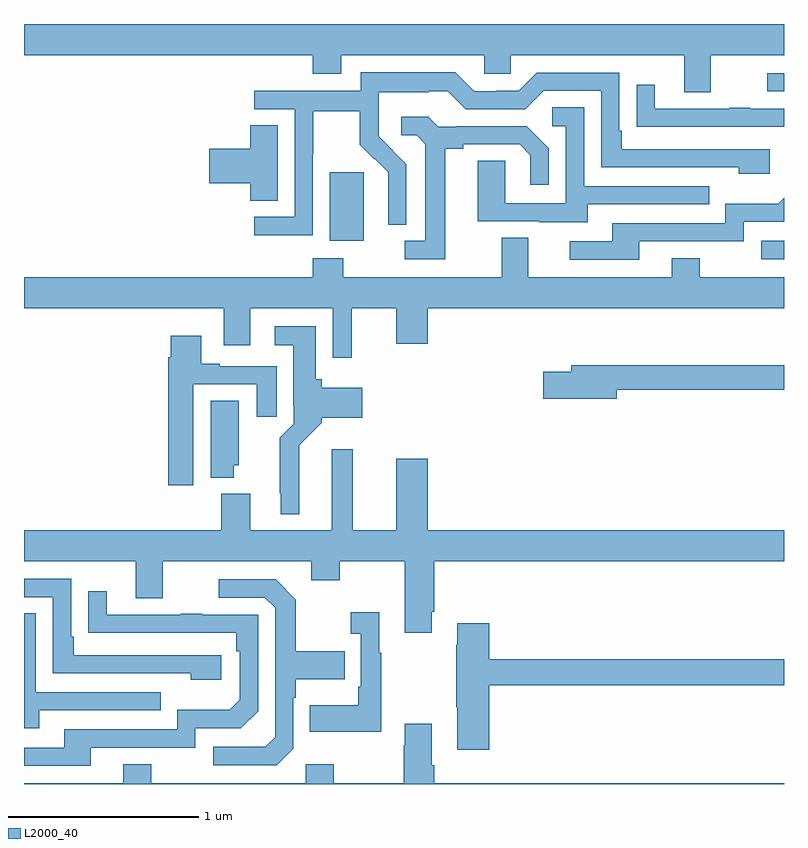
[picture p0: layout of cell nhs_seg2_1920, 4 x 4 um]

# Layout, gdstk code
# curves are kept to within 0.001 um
import gdstk
lib = gdstk.Library(unit=1e-6, precision=1e-09)
def R(c, l, rs):  # rectangles x0, y0, x1, y1
    for r in rs: c.add(gdstk.rectangle(r[:2], r[2:], *l))
def P(c, l, *ps):  # polygons
    for p in ps: c.add(gdstk.Polygon(p, *l))
L2000_40 = (2000, 40)

nhs_seg2_1920 = lib.new_cell('nhs_seg2_1920')
R(nhs_seg2_1920, L2000_40, [(214.881,646.563,215,646.659), (212.609,646.658,212.788,647.019), (214.911,647.445,215,647.541)])
P(nhs_seg2_1920, L2000_40, [(214.615,647.636),(215,647.636),(215,647.8),(211,647.8),(211,647.636),(212.519,647.636),(212.519,647.537),(212.671,647.537),(212.671,647.636),(213.423,647.636),(213.423,647.538),(213.561,647.538),(213.561,647.636),(214.475,647.636),(214.475,647.442),(214.615,647.442)],
  [(212.52,647.116),(212.523,647.116),(212.523,647.34),(212.767,647.34),(212.767,647.165),(212.844,647.088),(212.847,647.091),(212.918,647.021),(212.918,646.898),(212.916,646.898),(212.916,646.744),(213.012,646.744),(213.012,647.062),(212.866,647.21),(212.866,647.307),(212.868,647.307),(212.868,647.441),(213.131,647.441),(213.131,647.445),(213.231,647.445),(213.324,647.352),(213.639,647.352),(213.735,647.448),(214.038,647.448),(214.038,647.046),(214.763,647.046),(214.763,647.012),(214.924,647.012),(214.924,647.142),(214.147,647.142),(214.147,647.239),(214.134,647.239),(214.134,647.544),(213.699,647.544),(213.603,647.448),(213.485,647.448),(213.485,647.445),(213.369,647.445),(213.269,647.545),(212.772,647.545),(212.772,647.448),(212.211,647.448),(212.211,647.352),(212.424,647.352),(212.424,646.785),(212.211,646.785),(212.211,646.687),(212.52,646.687)],
  [(215,647.355),(214.823,647.355),(214.823,647.36),(214.711,647.36),(214.711,647.355),(214.321,647.355),(214.321,647.479),(214.225,647.479),(214.225,647.26),(214.327,647.26),(214.327,647.259),(215,647.259)],
  [(213.967,646.851),(214.607,646.851),(214.607,646.947),(213.948,646.947),(213.948,647.363),(213.78,647.363),(213.78,647.262),(213.852,647.262),(213.852,646.857),(213.534,646.857),(213.534,647.081),(213.389,647.081),(213.389,646.761),(213.713,646.761),(213.713,646.757),(213.967,646.757)],
  [(213.217,647.144),(213.313,647.144),(213.313,647.166),(213.608,647.166),(213.665,647.109),(213.665,646.953),(213.762,646.953),(213.762,647.146),(213.646,647.262),(213.274,647.262),(213.274,647.259),(213.18,647.259),(213.128,647.311),(212.985,647.311),(212.985,647.214),(213.066,647.214),(213.113,647.167),(213.113,646.659),(213.003,646.659),(213.003,646.563),(213.217,646.563)],
  [(212.335,647.267),(212.192,647.267),(212.192,647.144),(211.974,647.144),(211.974,646.961),(212.192,646.961),(212.192,646.87),(212.335,646.87)],
  [(214.237,646.656),(214.788,646.656),(214.788,646.758),(215,646.758),(215,646.886),(214.969,646.855),(214.692,646.855),(214.692,646.752),(214.097,646.752),(214.097,646.656),(213.873,646.656),(213.873,646.56),(214.237,646.56)],
  [(212.724,646.304),(212.96,646.304),(212.96,646.116),(213.124,646.116),(213.124,646.304),(215,646.304),(215,646.468),(214.557,646.468),(214.557,646.567),(214.409,646.567),(214.409,646.468),(213.655,646.468),(213.655,646.676),(213.515,646.676),(213.515,646.468),(212.679,646.468),(212.679,646.567),(212.519,646.567),(212.519,646.468),(211,646.468),(211,646.304),(212.051,646.304),(212.051,646.11),(212.191,646.11),(212.191,646.304),(212.625,646.304),(212.625,646.044),(212.724,646.044)],
  [(212.449,645.584),(212.567,645.702),(212.567,645.728),(212.779,645.728),(212.779,645.886),(212.567,645.886),(212.567,645.93),(212.536,645.93),(212.536,646.21),(212.319,646.21),(212.319,646.109),(212.417,646.109),(212.417,645.79),(212.421,645.79),(212.421,645.696),(212.347,645.622),(212.347,645.331),(212.351,645.331),(212.351,645.221),(212.449,645.221)],
  [(211.891,645.903),(212.225,645.903),(212.225,645.732),(212.329,645.732),(212.329,645.999),(212.029,645.999),(212.029,646.012),(211.933,646.012),(211.933,646.159),(211.772,646.159),(211.772,646.046),(211.76,646.046),(211.76,645.372),(211.891,645.372)],
  [(214.12,645.874),(215,645.874),(215,646.003),(213.881,646.003),(213.881,645.969),(213.732,645.969),(213.732,645.827),(214.12,645.827)],
  [(212.104,645.477),(212.131,645.477),(212.131,645.818),(211.982,645.818),(211.982,645.413),(212.104,645.413)],
  [(212.661,644.972),(213.005,644.972),(213.005,644.595),(213.145,644.595),(213.145,644.707),(213.158,644.707),(213.158,644.972),(215,644.972),(215,645.136),(213.124,645.136),(213.124,645.511),(212.96,645.511),(212.96,645.136),(212.731,645.136),(212.731,645.562),(212.621,645.562),(212.621,645.136),(212.191,645.136),(212.191,645.328),(212.039,645.328),(212.039,645.136),(211,645.136),(211,644.972),(211.589,644.972),(211.589,644.778),(211.729,644.778),(211.729,644.972),(212.513,644.972),(212.513,644.873),(212.661,644.873)],
  [(212.038,644.478),(211.261,644.478),(211.261,644.575),(211.248,644.575),(211.248,644.88),(211,644.88),(211,644.784),(211.152,644.784),(211.152,644.382),(211.877,644.382),(211.877,644.348),(212.038,644.348)],
  [(212.418,643.986),(212.418,644.255),(212.431,644.255),(212.431,644.351),(212.687,644.351),(212.687,644.499),(212.431,644.499),(212.431,644.771),(212.325,644.877),(212.025,644.877),(212.025,644.781),(212.268,644.781),(212.322,644.727),(212.322,644.046),(212.271,643.995),(211.995,643.995),(211.995,643.899),(212.331,643.899)],
  [(211.351,643.992),(211.902,643.992),(211.902,644.094),(212.142,644.094),(212.232,644.184),(212.232,644.691),(211.937,644.691),(211.937,644.696),(211.825,644.696),(211.825,644.691),(211.435,644.691),(211.435,644.815),(211.339,644.815),(211.339,644.596),(212.116,644.595),(212.116,644.498),(212.136,644.498),(212.136,644.244),(212.083,644.191),(211.806,644.191),(211.806,644.088),(211.211,644.088),(211.211,643.992),(211,643.992),(211,643.896),(211.351,643.896)],
  [(212.881,644.491),(212.869,644.491),(212.869,644.704),(212.721,644.704),(212.721,644.591),(212.772,644.591),(212.772,644.311),(212.76,644.311),(212.76,644.215),(212.503,644.215),(212.503,644.075),(212.881,644.075)],
  [(211.081,644.187),(211.721,644.187),(211.721,644.283),(211.062,644.283),(211.062,644.699),(211,644.699),(211,644.093),(211.081,644.093)],
  [(213.449,644.32),(215,644.32),(215,644.456),(213.449,644.456),(213.449,644.647),(213.281,644.647),(213.281,644.534),(213.274,644.534),(213.274,644.203),(213.281,644.203),(213.281,643.98),(213.449,643.98)],
  [(215,643.804),(213.158,643.804),(213.158,643.9),(213.145,643.9),(213.145,644.116),(213.005,644.116),(213.005,644.003),(212.998,644.003),(212.998,643.804),(212.631,643.804),(212.631,643.903),(212.484,643.903),(212.484,643.804),(211.671,643.804),(211.671,643.903),(211.523,643.903),(211.523,643.804),(211,643.804),(211,643.8),(215,643.8)])

lib.write_gds('nhs_seg2_1920.gds')
